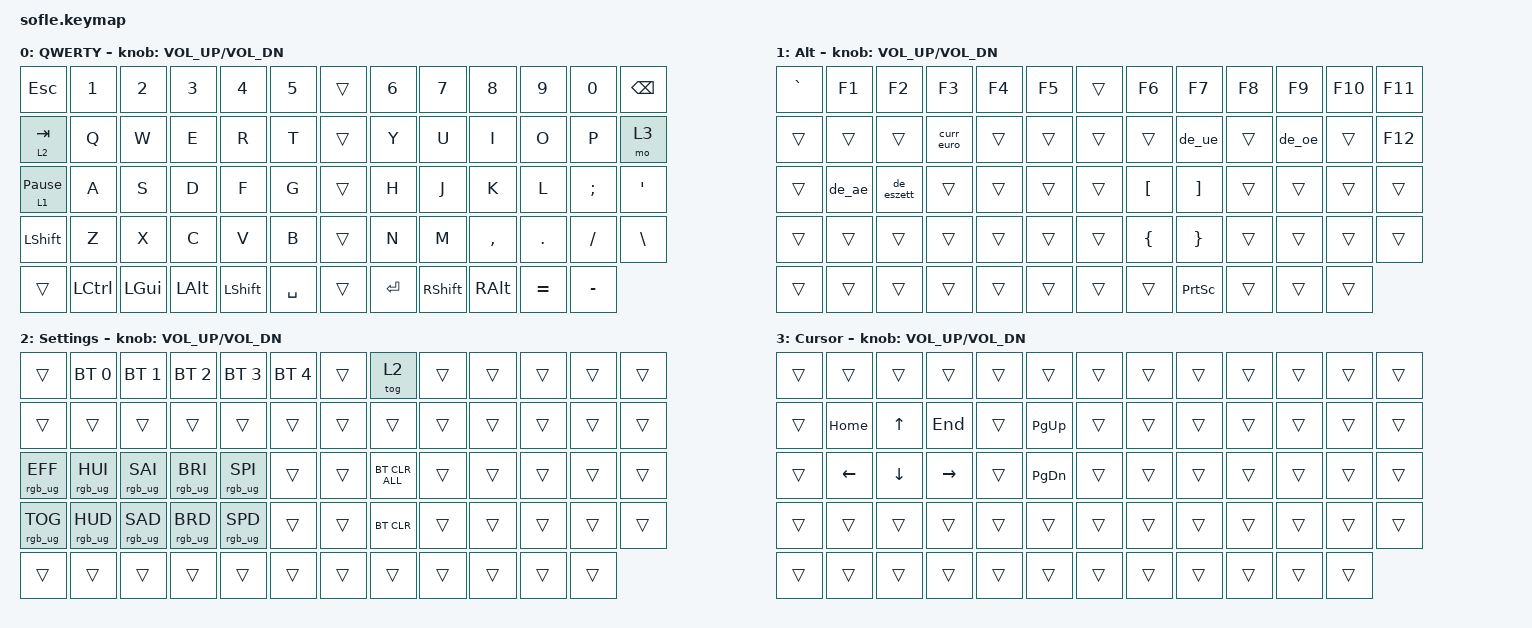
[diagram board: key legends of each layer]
#include <behaviors.dtsi>
#include <dt-bindings/zmk/bt.h>
#include <dt-bindings/zmk/keys.h>
#include <dt-bindings/zmk/rgb.h>

#define HOST_OS 1 // Host OS is Linux

#include "zmk-helpers/helper.h"
#include "zmk-helpers/unicode-chars/german.dtsi"
#include "zmk-helpers/unicode-chars/currency.dtsi"

/ {
    keymap {
        compatible = "zmk,keymap";

        layer_0 {
            display-name = "QWERTY"; // QWERTY Basic Layer
            bindings = <
&kp ESC            &kp N1     &kp N2    &kp N3    &kp N4      &kp N5       &trans  &kp N6     &kp N7      &kp N8     &kp N9     &kp N0     &kp BSPC
&lt 2 TAB          &kp Q      &kp W     &kp E     &kp R       &kp T        &trans  &kp Y      &kp U       &kp I      &kp O      &kp P      &mo 3
&lt 1 PAUSE_BREAK  &kp A      &kp S     &kp D     &kp F       &kp G        &trans  &kp H      &kp J       &kp K      &kp L      &kp SEMI   &kp APOS
&kp LEFT_SHIFT     &kp Z      &kp X     &kp C     &kp V       &kp B        &trans  &kp N      &kp M       &kp COMMA  &kp DOT    &kp FSLH   &kp BSLH
&trans             &kp LCTRL  &kp LGUI  &kp LALT  &kp LSHIFT  &kp SPACE    &trans  &kp ENTER  &kp RSHIFT  &kp RALT   &kp EQUAL  &kp MINUS
            >;

            sensor-bindings = <&inc_dec_kp C_VOLUME_UP C_VOL_DN>;
        };

        layer_1 {
            display-name = "Alt"; // Alt keys for QWERTY Basic Layer
            bindings = <
&kp GRAVE  &kp F1  &kp F2      &kp F3      &kp F4  &kp F5    &trans  &kp F6    &kp F7     &kp F8  &kp F9  &kp F10  &kp F11
&trans     &trans  &trans      &curr_euro  &trans  &trans    &trans  &trans    &de_ue     &trans  &de_oe  &trans   &kp F12
&trans     &de_ae  &de_eszett  &trans      &trans  &trans    &trans  &kp LBKT  &kp RBKT   &trans  &trans  &trans   &trans
&trans     &trans  &trans      &trans      &trans  &trans    &trans  &kp LBRC  &kp RBRC   &trans  &trans  &trans   &trans
&trans     &trans  &trans      &trans      &trans  &trans    &trans  &trans    &kp PSCRN  &trans  &trans  &trans
            >;

            sensor-bindings = <&inc_dec_kp C_VOLUME_UP C_VOL_DN>;
        };

        layer_2 {
            display-name = "Settings"; // The Settings
            bindings = <
&trans           &bt BT_SEL 0     &bt BT_SEL 1     &bt BT_SEL 2     &bt BT_SEL 3     &bt BT_SEL 4    &trans  &tog 2          &trans  &trans  &trans  &trans  &trans
&trans           &trans           &trans           &trans           &trans           &trans          &trans  &trans          &trans  &trans  &trans  &trans  &trans
&rgb_ug RGB_EFF  &rgb_ug RGB_HUI  &rgb_ug RGB_SAI  &rgb_ug RGB_BRI  &rgb_ug RGB_SPI  &trans          &trans  &bt BT_CLR_ALL  &trans  &trans  &trans  &trans  &trans
&rgb_ug RGB_TOG  &rgb_ug RGB_HUD  &rgb_ug RGB_SAD  &rgb_ug RGB_BRD  &rgb_ug RGB_SPD  &trans          &trans  &bt BT_CLR      &trans  &trans  &trans  &trans  &trans
&trans           &trans           &trans           &trans           &trans           &trans          &trans  &trans          &trans  &trans  &trans  &trans
            >;

            sensor-bindings = <&inc_dec_kp C_VOLUME_UP C_VOL_DN>;
        };

        layer_3 {
            display-name = "Cursor"; // Cursor and pos control
            bindings = <
&trans  &trans    &trans    &trans     &trans  &trans       &trans  &trans  &trans  &trans  &trans  &trans  &trans
&trans  &kp HOME  &kp UP    &kp END    &trans  &kp PG_UP    &trans  &trans  &trans  &trans  &trans  &trans  &trans
&trans  &kp LEFT  &kp DOWN  &kp RIGHT  &trans  &kp PG_DN    &trans  &trans  &trans  &trans  &trans  &trans  &trans
&trans  &trans    &trans    &trans     &trans  &trans       &trans  &trans  &trans  &trans  &trans  &trans  &trans
&trans  &trans    &trans    &trans     &trans  &trans       &trans  &trans  &trans  &trans  &trans  &trans
            >;

            sensor-bindings = <&inc_dec_kp C_VOLUME_UP C_VOL_DN>;
        };
    };
};
